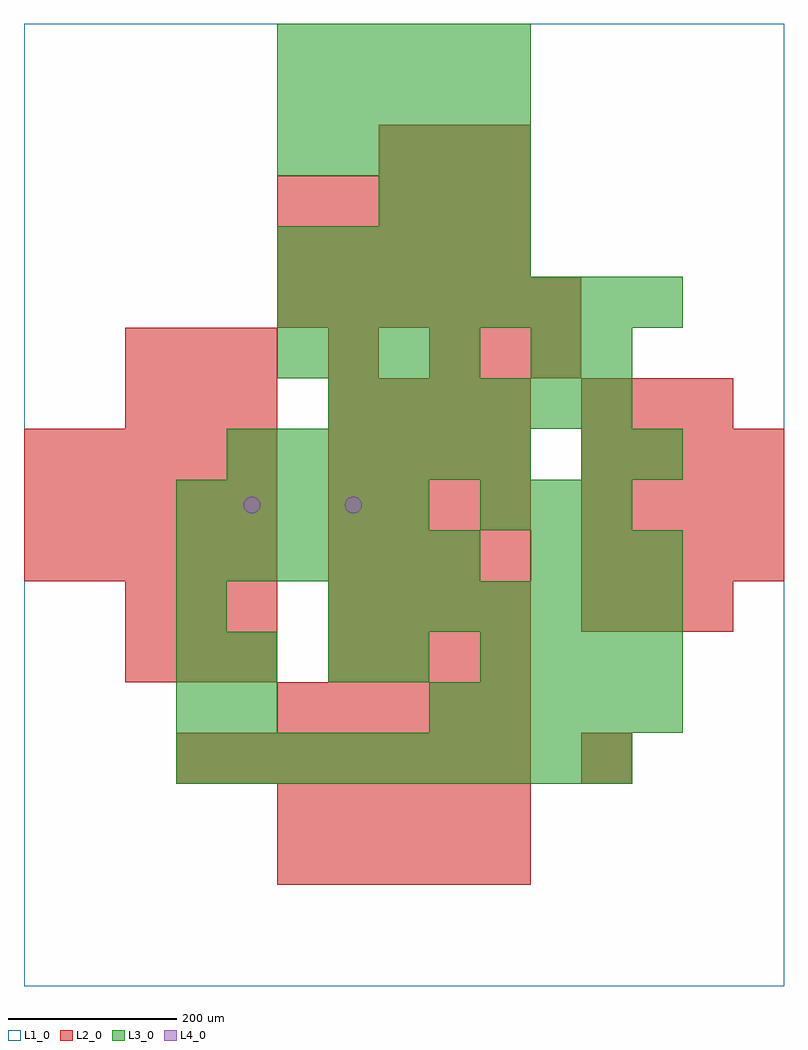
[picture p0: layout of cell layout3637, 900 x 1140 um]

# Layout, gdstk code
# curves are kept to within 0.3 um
import gdstk
lib = gdstk.Library(unit=1e-6, precision=1e-09)
def R(c, l, rs):  # rectangles x0, y0, x1, y1
    for r in rs: c.add(gdstk.rectangle(r[:2], r[2:], *l))
def A(c, l, x, y, w, h, nx, ny, dx, dy):  # array of equal rectangles
    R(c, l, [(x+i*dx, y+j*dy, x+i*dx+w, y+j*dy+h) for i in range(nx) for j in range(ny)])
def P(c, l, *ps):  # polygons
    for p in ps: c.add(gdstk.Polygon(p, *l))
L1_0 = (1, 0)
L2_0 = (2, 0)
L3_0 = (3, 0)
L4_0 = (4, 0)

layout3637 = lib.new_cell('layout3637')
R(layout3637, L1_0, [(0,0,900,1140)])
A(layout3637, L2_0, 300, 120, 60, 60, 5, 2, 60, 60)
A(layout3637, L2_0, 180, 240, 60, 60, 7, 1, 60, 0)
A(layout3637, L2_0, 300, 300, 60, 60, 5, 2, 60, 540)
A(layout3637, L2_0, 120, 360, 60, 60, 3, 2, 60, 60)
A(layout3637, L2_0, 360, 360, 60, 60, 4, 6, 60, 60)
A(layout3637, L2_0, 660, 420, 60, 60, 3, 2, 60, 240)
A(layout3637, L2_0, 0, 480, 60, 60, 5, 3, 60, 60)
A(layout3637, L2_0, 660, 480, 60, 60, 4, 3, 60, 60)
A(layout3637, L2_0, 120, 660, 60, 60, 3, 2, 60, 60)
A(layout3637, L2_0, 480, 720, 60, 60, 3, 1, 60, 0)
A(layout3637, L2_0, 300, 780, 60, 60, 6, 1, 60, 0)
A(layout3637, L2_0, 300, 900, 60, 60, 5, 1, 60, 0)
A(layout3637, L2_0, 420, 960, 60, 60, 3, 1, 60, 0)
R(layout3637, L2_0, [(660,240,720,300), (360,720,420,780)])
A(layout3637, L3_0, 180, 240, 60, 60, 9, 1, 60, 0)
A(layout3637, L3_0, 180, 300, 60, 60, 1, 3, 0, 60)
A(layout3637, L3_0, 480, 300, 60, 60, 5, 1, 60, 0)
A(layout3637, L3_0, 540, 360, 60, 60, 4, 1, 60, 0)
A(layout3637, L3_0, 360, 420, 60, 60, 7, 1, 60, 0)
A(layout3637, L3_0, 180, 480, 60, 60, 6, 1, 60, 0)
A(layout3637, L3_0, 600, 480, 60, 60, 3, 1, 60, 0)
A(layout3637, L3_0, 180, 540, 60, 60, 5, 1, 60, 0)
A(layout3637, L3_0, 540, 540, 60, 60, 3, 1, 60, 0)
A(layout3637, L3_0, 240, 600, 60, 60, 6, 1, 60, 0)
A(layout3637, L3_0, 360, 660, 60, 60, 6, 1, 60, 0)
A(layout3637, L3_0, 300, 720, 60, 60, 4, 1, 60, 0)
A(layout3637, L3_0, 300, 780, 60, 60, 8, 1, 60, 0)
A(layout3637, L3_0, 300, 840, 60, 60, 5, 2, 60, 120)
A(layout3637, L3_0, 420, 900, 60, 60, 3, 1, 60, 0)
A(layout3637, L3_0, 300, 1020, 60, 60, 5, 2, 60, 60)
R(layout3637, L3_0, [(240,300,300,360), (240,360,300,420), (360,360,420,420), (420,360,480,420), (660,600,720,660), (720,600,780,660), (600,720,660,780), (660,720,720,780)])
P(layout3637, L4_0, [(280,570),(279.239,573.827),(277.071,577.071),(273.827,579.239),(270,580),(266.173,579.239),(262.929,577.071),(260.761,573.827),(260,570),(260.761,566.173),(262.929,562.929),(266.173,560.761),(270,560),(273.827,560.761),(277.071,562.929),(279.239,566.173)],
  [(400,570),(399.239,573.827),(397.071,577.071),(393.827,579.239),(390,580),(386.173,579.239),(382.929,577.071),(380.761,573.827),(380,570),(380.761,566.173),(382.929,562.929),(386.173,560.761),(390,560),(393.827,560.761),(397.071,562.929),(399.239,566.173)])

lib.write_gds('layout3637.gds')
